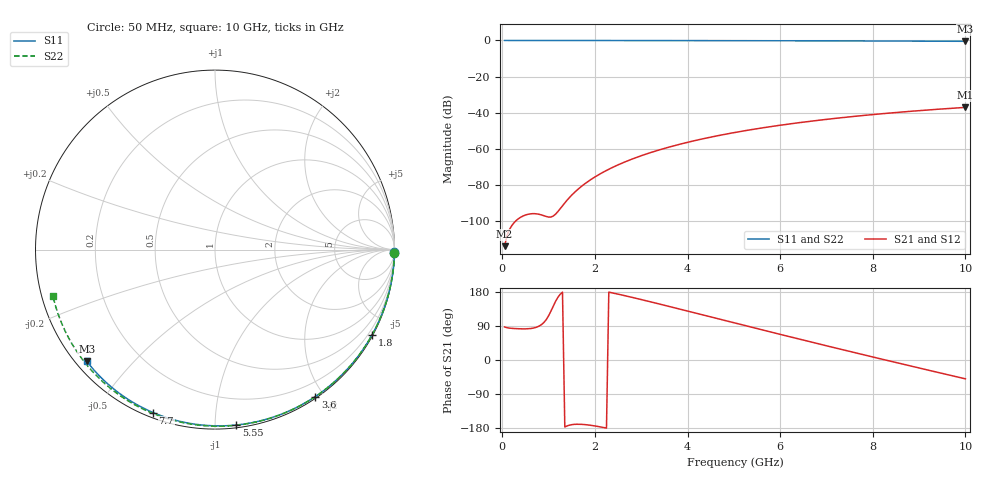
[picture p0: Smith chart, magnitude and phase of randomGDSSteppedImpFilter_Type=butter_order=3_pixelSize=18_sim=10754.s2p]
! freq	dB(S11)	phase(S11)	dB(S12)	phase(S12)
!  dB(S21)	phase(S21)	dB(S22)	phase(S22)
!S-par simulation data
#  GHz  S  DB  R 50
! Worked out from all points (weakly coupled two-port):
!   200 points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, 50 MHz to 10 GHz, reference 50 ohm
!   highest |S21| = -37.10 dB at 10 GHz (marker M1); lowest = -114.0 dB at 50 MHz (marker M2)
!   lowest |S11| = -0.5 dB at 10 GHz (marker M3), VSWR 36.95, Z = 1.54 - j18.7 ohm
!   |S11| at or under -10 dB: nowhere
!   |S22| runs from -0.5 to 0.0 dB; largest |S21 - S12| = 0
!   S11 on the Smith chart (normalised r, x): 50 MHz: open; 1.8 GHz: 0.03, -3.94; 3.6 GHz: 0.02, -1.89; 5.55 GHz: 0.02, -1.13; 7.7 GHz: 0.02, -0.69; 10 GHz: 0.03, -0.37
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0.05  -0.00 -0.8  -114.03 87.2  -114.03 87.2  -0.00 -1.0
0.45  -0.01 -7.2  -97.28 82.2  -97.28 82.2  -0.01 -8.6
0.85  -0.02 -13.6  -96.74 93.7  -96.74 93.7  -0.02 -16.1
1.3  -0.03 -20.7  -91.60 179.1  -91.60 179.1  -0.03 -24.5
1.75  -0.04 -27.7  -80.07 -170.1  -80.07 -170.1  -0.04 -32.9
1.8  -0.04 -28.5  -79.10 -170.7  -79.10 -170.7  -0.04 -33.8
1.95  -0.04 -30.8  -76.47 -173.0  -76.47 -173.0  -0.05 -36.5
2.1  -0.04 -33.1  -74.14 -176.1  -74.14 -176.1  -0.05 -39.2
2.3  -0.05 -36.2  -71.39 179.1  -71.39 179.1  -0.05 -42.8
2.5  -0.05 -39.3  -68.97 173.8  -68.97 173.8  -0.06 -46.4
2.9  -0.06 -45.3  -64.82 162.5  -64.82 162.5  -0.07 -53.5
3.4  -0.07 -52.7  -60.59 147.5  -60.59 147.5  -0.08 -62.2
3.6  -0.07 -55.7  -59.12 141.4  -59.12 141.4  -0.09 -65.6
4.3  -0.09 -65.7  -54.69 119.9  -54.69 119.9  -0.11 -77.4
5.05  -0.12 -76.2  -50.87 96.8  -50.87 96.8  -0.14 -89.5
5.55  -0.14 -83.0  -48.72 81.4  -48.72 81.4  -0.16 -97.4
6.1  -0.16 -90.4  -46.64 64.6  -46.64 64.6  -0.19 -105.9
6.7  -0.19 -98.2  -44.64 46.5  -44.64 46.5  -0.22 -115.0
7.7  -0.25 -110.8  -41.83 16.8  -41.83 16.8  -0.30 -129.9
8.35  -0.30 -118.9  -40.27 -2.3  -40.27 -2.3  -0.36 -139.4
9.2  -0.38 -129.3  -38.51 -26.8  -38.51 -26.8  -0.45 -152.0
10  -0.47 -139.0  -37.10 -49.7  -37.10 -49.7  -0.55 -164.1
